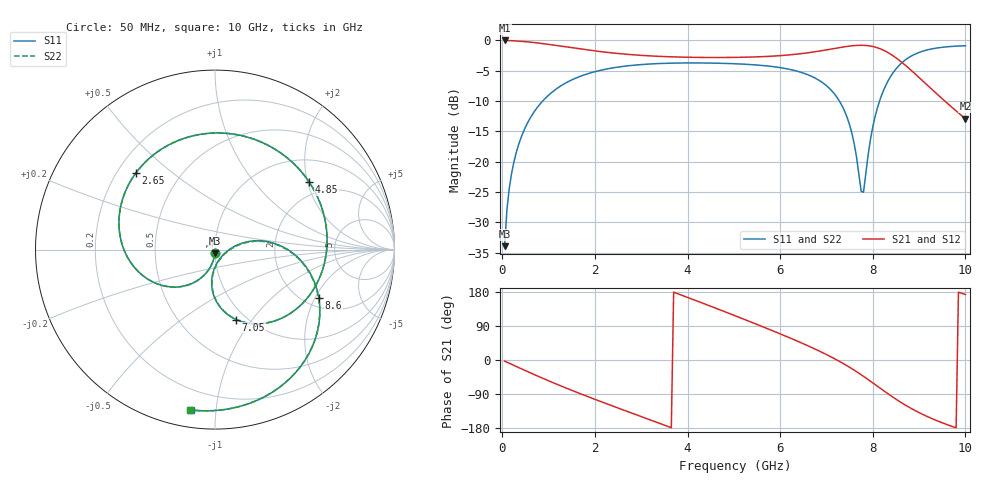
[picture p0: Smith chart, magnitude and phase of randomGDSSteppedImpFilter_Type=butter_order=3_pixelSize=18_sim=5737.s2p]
! freq	dB(S11)	phase(S11)	dB(S12)	phase(S12)
!  dB(S21)	phase(S21)	dB(S22)	phase(S22)
!S-par simulation data
#  GHz  S  DB  R 50
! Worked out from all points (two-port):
!   200 points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, 50 MHz to 10 GHz, reference 50 ohm
!   highest |S21| = 0.00 dB at 50 MHz (marker M1); lowest = -12.9 dB at 10 GHz (marker M2)
!   |S21| within 3 dB of the highest: start of sweep to 8.525 GHz
!   lowest |S11| = -33.9 dB at 50 MHz (marker M3), VSWR 1.04, Z = 49.9 - j2 ohm
!   |S11| at or under -10 dB: start of sweep to 871.8 MHz; 7.278 GHz to 8.146 GHz (868 MHz wide, 11.3 % of centre)
!   |S22| runs from -33.9 to -0.9 dB; largest |S21 - S12| = 0
!   S11 on the Smith chart (normalised r, x): 50 MHz: 1.00, -0.04; 2.65 GHz: 0.28, +0.38; 4.85 GHz: 1.59, +2.05; 7.05 GHz: 0.90, -0.84; 8.6 GHz: 2.36, -2.16; 10 GHz: 0.09, -0.86
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0.05  -33.94 -92.9  -0.00 -2.9  -0.00 -2.9  -33.94 -92.9
0.1  -27.94 -95.9  -0.02 -5.7  -0.02 -5.7  -27.94 -95.9
0.2  -21.97 -101.8  -0.05 -11.4  -0.05 -11.4  -21.97 -101.8
0.5  -14.31 -118.7  -0.20 -28.1  -0.20 -28.1  -14.31 -118.7
1.1  -8.38 -150.6  -0.76 -60.0  -0.76 -60.0  -8.38 -150.7
1.75  -5.73 177.3  -1.48 -92.1  -1.48 -92.1  -5.73 177.3
2.65  -4.24 135.9  -2.26 -133.5  -2.26 -133.5  -4.24 135.8
3.4  -3.81 102.2  -2.63 -167.3  -2.63 -167.3  -3.81 102.1
4.1  -3.71 70.4  -2.79 160.6  -2.79 160.6  -3.71 70.3
4.85  -3.80 35.6  -2.81 125.3  -2.81 125.3  -3.80 35.5
5.05  -3.86 26.2  -2.80 115.7  -2.80 115.7  -3.86 26.1
5.9  -4.37 -14.4  -2.56 74.1  -2.56 74.1  -4.37 -14.4
6.7  -6.00 -54.5  -1.93 32.0  -1.93 32.0  -6.00 -54.4
7.05  -7.81 -73.3  -1.49 11.3  -1.49 11.3  -7.81 -73.1
7.45  -12.78 -93.6  -0.98 -15.6  -0.98 -15.6  -12.76 -93.2
7.75  -24.90 -61.0  -0.80 -38.9  -0.80 -38.9  -24.57 -60.3
7.8  -25.03 -24.4  -0.81 -43.1  -0.81 -43.1  -24.70 -25.3
8.05  -12.57 12.2  -1.10 -64.7  -1.10 -64.7  -12.55 11.6
8.35  -6.40 -6.8  -2.10 -90.9  -2.10 -90.9  -6.40 -7.1
8.6  -3.89 -25.1  -3.44 -111.3  -3.44 -111.3  -3.88 -25.3
9.25  -1.44 -65.0  -7.88 -153.2  -7.88 -153.2  -1.44 -65.1
10  -0.88 -98.6  -12.91 173.0  -12.91 173.0  -0.88 -98.7
